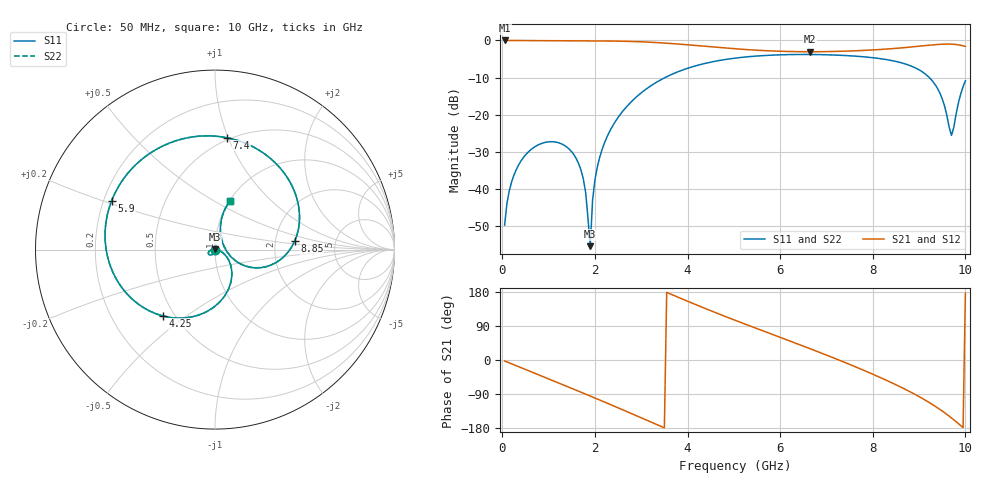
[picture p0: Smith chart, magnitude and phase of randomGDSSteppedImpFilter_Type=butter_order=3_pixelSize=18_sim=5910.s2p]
! freq	dB(S11)	phase(S11)	dB(S12)	phase(S12)
!  dB(S21)	phase(S21)	dB(S22)	phase(S22)
!S-par simulation data
#  GHz  S  DB  R 50
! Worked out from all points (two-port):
!   200 points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, 50 MHz to 10 GHz, reference 50 ohm
!   highest |S21| = 0.00 dB at 50 MHz (marker M1); lowest = -3.0 dB at 6.65 GHz (marker M2)
!   |S21| within 3 dB of the highest: start of sweep to 6.29 GHz; 7.024 GHz to end of sweep
!   lowest |S11| = -55.4 dB at 1.9 GHz (marker M3), VSWR 1.00, Z = 50.2 + j0.0787 ohm
!   |S11| at or under -10 dB: start of sweep to 3.515 GHz; 9.22 GHz to end of sweep
!   |S22| runs from -54.5 to -3.8 dB; largest |S21 - S12| = 0
!   S11 on the Smith chart (normalised r, x): 50 MHz: 1.00, -0.01; 4.25 GHz: 0.43, -0.41; 5.9 GHz: 0.23, +0.21; 7.4 GHz: 0.48, +0.99; 8.85 GHz: 2.57, +0.30; 10 GHz: 1.00, +0.60
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0.05  -49.74 -89.6  -0.00 -2.5  -0.00 -2.5  -49.74 -89.6
0.25  -36.32 -101.6  -0.02 -12.5  -0.02 -12.5  -36.32 -101.6
0.75  -28.30 -128.3  -0.05 -37.4  -0.05 -37.4  -28.30 -128.4
1.4  -28.79 -161.7  -0.08 -69.9  -0.08 -69.9  -28.78 -162.0
1.75  -37.33 178.4  -0.10 -87.5  -0.10 -87.5  -37.32 177.1
1.9  -55.42 27.6  -0.11 -95.1  -0.11 -95.1  -54.50 36.0
1.95  -42.95 -1.6  -0.11 -97.7  -0.11 -97.7  -42.88 1.3
2  -37.63 -7.4  -0.11 -100.2  -0.11 -100.2  -37.61 -5.7
2.25  -26.30 -22.9  -0.14 -113.1  -0.14 -113.1  -26.29 -22.4
2.7  -17.63 -47.1  -0.24 -136.7  -0.24 -136.7  -17.63 -46.8
3.4  -10.76 -84.2  -0.62 -173.7  -0.62 -173.7  -10.76 -84.1
4.25  -6.58 -127.9  -1.44 142.5  -1.44 142.5  -6.58 -127.7
5.05  -4.73 -166.3  -2.27 103.8  -2.27 103.8  -4.73 -166.2
5.9  -3.92 154.6  -2.87 64.4  -2.87 64.4  -3.92 154.7
6.65  -3.78 120.0  -3.04 29.7  -3.04 29.7  -3.78 120.1
6.7  -3.79 117.7  -3.04 27.3  -3.04 27.3  -3.79 117.8
7.4  -4.06 84.0  -2.89 -6.6  -2.89 -6.6  -4.06 84.1
8.35  -5.28 34.7  -2.27 -56.7  -2.27 -56.7  -5.28 34.7
8.85  -7.00 6.1  -1.74 -86.7  -1.74 -86.7  -7.00 6.1
9.4  -12.97 -26.4  -1.09 -126.3  -1.09 -126.3  -12.97 -26.1
9.7  -25.58 22.6  -1.00 -153.0  -1.00 -153.0  -25.38 22.6
10  -10.88 73.0  -1.62 176.3  -1.62 176.3  -10.87 72.6
